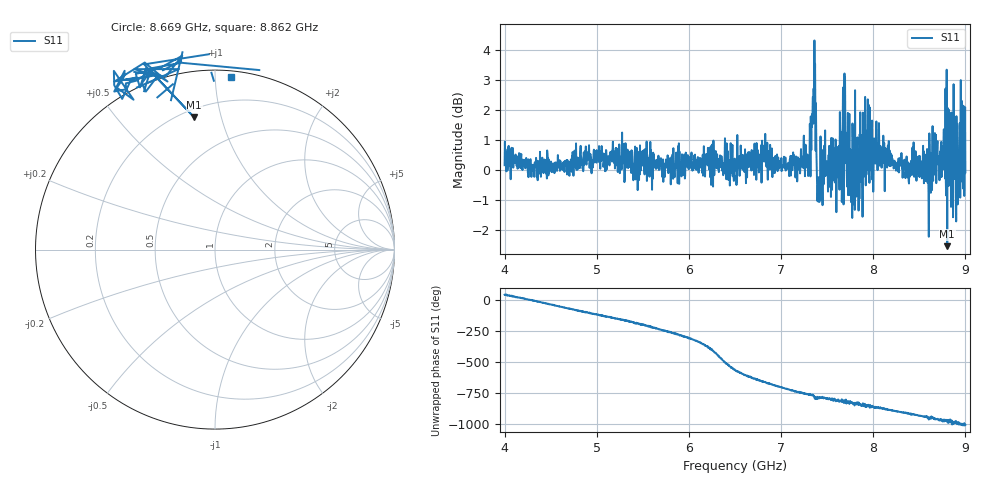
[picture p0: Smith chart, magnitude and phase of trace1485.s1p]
! Created with skrf 1.8.0 (http://scikit-rf.org).
# Hz S RI R 50.0
!freq ReS11 ImS11
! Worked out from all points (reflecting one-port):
!   1601 points, 4 GHz to 9 GHz, reference 50 ohm
!   lowest |S11| = -2.5 dB at 8.803 GHz (marker M1), VSWR 6.89, Z = 12.4 + j41.2 ohm
!   phase of S11 starts at 47 deg and turns -1054 deg over the sweep
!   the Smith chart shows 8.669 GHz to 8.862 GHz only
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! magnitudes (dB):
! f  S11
! 4 GHz  0.2
! 4.625 GHz  0.0
! 5.25 GHz  -0.1
! 5.875 GHz  0.3
! 6.412 GHz  0.8
! 6.5 GHz  0.0
! 6.806 GHz  0.3
! 7.125 GHz  0.2
! 7.294 GHz  -0.2
! 7.356 GHz  2.1
! 7.397 GHz  -0.9
! 7.412 GHz  -1.0
! 7.481 GHz  -0.2
! 7.609 GHz  0.2
! 7.688 GHz  3.2
! 7.712 GHz  0.0
! 7.75 GHz  -0.8
! 7.775 GHz  1.5
! 7.928 GHz  0.2
! 8.375 GHz  -0.1
! 8.434 GHz  0.0
! 8.612 GHz  0.7
! 8.666 GHz  0.4
! 8.803 GHz  -2.5
! 8.834 GHz  1.9
! 8.919 GHz  -0.7
! 8.959 GHz  2.3
! 9 GHz  -0.1
